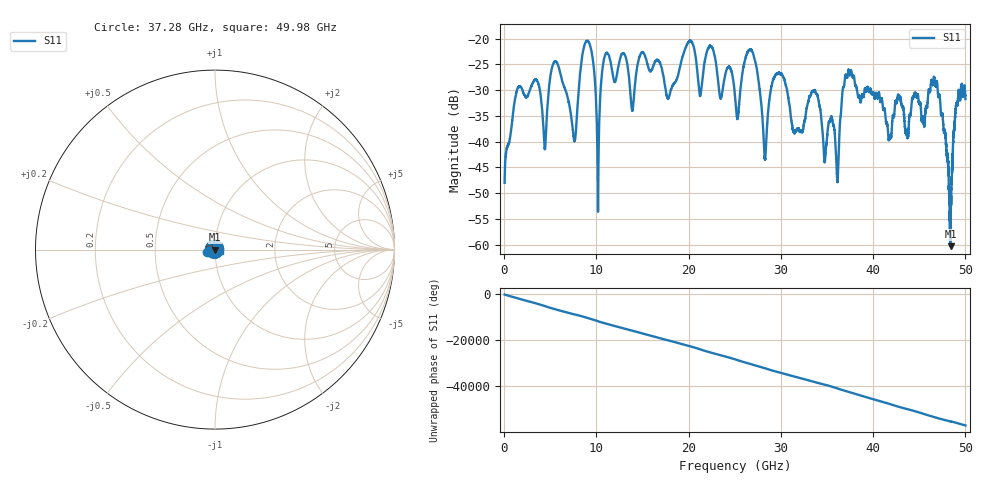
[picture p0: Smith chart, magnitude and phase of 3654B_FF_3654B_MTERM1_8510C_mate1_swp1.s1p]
!Created with skrf (http://scikit-rf.org).
# Hz S RI R 50.0
!freq ReS11 ImS11
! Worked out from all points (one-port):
!   10001 points, 45 MHz to 50 GHz, reference 50 ohm
!   lowest |S11| = -60.3 dB at 48.39 GHz (marker M1), VSWR 1.00, Z = 50 - j0.0916 ohm
!   |S11| at or under -10 dB: start of sweep to end of sweep
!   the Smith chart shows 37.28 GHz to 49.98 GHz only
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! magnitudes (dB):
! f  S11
! 45 MHz  -48.0
! 1.544 GHz  -29.4
! 3.567 GHz  -28.2
! 4.396 GHz  -41.5
! 5.28 GHz  -25.1
! 6.289 GHz  -28.2
! 7.618 GHz  -39.7
! 9.142 GHz  -20.6
! 10.18 GHz  -52.3
! 10.92 GHz  -23.3
! 12.53 GHz  -24.0
! 13.89 GHz  -34.0
! 14.92 GHz  -22.7
! 18.78 GHz  -27.5
! 22.39 GHz  -21.5
! 25.02 GHz  -31.1
! 26.71 GHz  -22.2
! 28.24 GHz  -43.0
! 29.61 GHz  -26.8
! 31.27 GHz  -37.4
! 33.69 GHz  -30.0
! 36.1 GHz  -47.7
! 37.51 GHz  -26.9
! 43.76 GHz  -39.2
! 46.75 GHz  -29.2
! 48.39 GHz  -60.3
! 49.09 GHz  -32.9
! 50 GHz  -31.7
